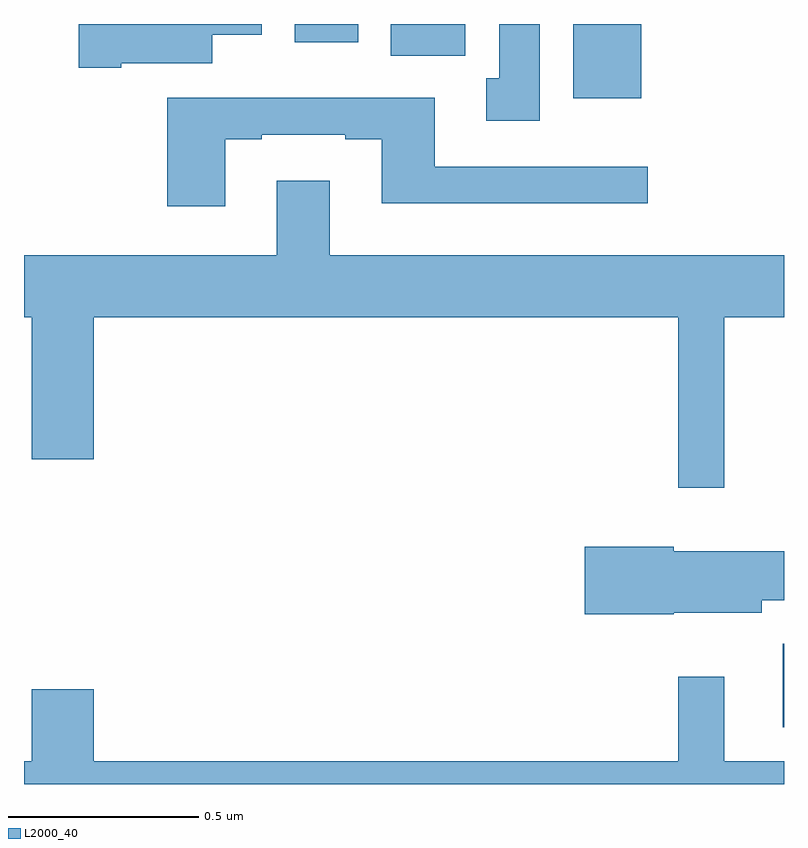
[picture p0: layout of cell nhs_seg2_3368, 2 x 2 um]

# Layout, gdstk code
import gdstk
lib = gdstk.Library(unit=1e-6, precision=1e-09)
def R(c, l, rs):  # rectangles x0, y0, x1, y1
    for r in rs: c.add(gdstk.rectangle(r[:2], r[2:], *l))
def P(c, l, *ps):  # polygons
    for p in ps: c.add(gdstk.Polygon(p, *l))
L2000_40 = (2000, 40)

nhs_seg2_3368 = lib.new_cell('nhs_seg2_3368')
R(nhs_seg2_3368, L2000_40, [(154.997,587.949,155,588.169), (154.445,589.604,154.624,589.8), (153.965,589.716,154.161,589.8), (153.713,589.752,153.88,589.8)])
P(nhs_seg2_3368, L2000_40, [(154.357,589.8),(154.25,589.8),(154.25,589.657),(154.217,589.657),(154.217,589.545),(154.357,589.545)],
  [(153.256,589.697),(153.496,589.697),(153.496,589.772),(153.625,589.772),(153.625,589.8),(153.144,589.8),(153.144,589.685),(153.256,589.685)],
  [(153.529,589.497),(153.625,589.497),(153.625,589.509),(153.845,589.509),(153.845,589.497),(153.941,589.497),(153.941,589.328),(154.642,589.328),(154.642,589.425),(154.081,589.425),(154.081,589.606),(153.377,589.606),(153.377,589.32),(153.529,589.32)],
  [(154.843,589.028),(155,589.028),(155,589.192),(153.805,589.192),(153.805,589.387),(153.665,589.387),(153.665,589.192),(153,589.192),(153,589.028),(153.02,589.028),(153.02,588.654),(153.184,588.654),(153.184,589.028),(154.722,589.028),(154.722,588.579),(154.843,588.579)],
  [(154.71,588.251),(154.942,588.251),(154.942,588.283),(155,588.283),(155,588.412),(154.71,588.412),(154.71,588.425),(154.476,588.425),(154.476,588.247),(154.71,588.247)],
  [(153.184,588.049),(153.02,588.049),(153.02,587.86),(153,587.86),(153,587.8),(155,587.8),(155,587.86),(154.843,587.86),(154.843,588.082),(154.722,588.082),(154.722,587.86),(153.184,587.86)])

lib.write_gds('nhs_seg2_3368.gds')
